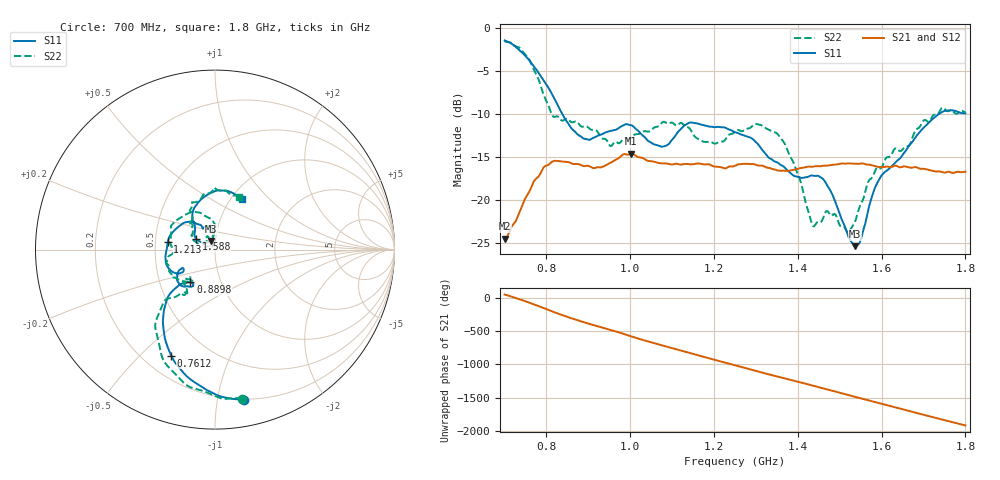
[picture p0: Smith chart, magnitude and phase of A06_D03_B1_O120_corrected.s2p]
! Created with skrf 1.9.0 (http://scikit-rf.org).
# Hz S RI R 50.0
!freq ReS11 ImS11 ReS21 ImS21 ReS12 ImS12 ReS22 ImS22
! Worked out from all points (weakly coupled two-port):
!   1601 points, 700 MHz to 1.8 GHz, reference 50 ohm
!   highest |S21| = -14.59 dB at 1.002 GHz (marker M1); lowest = -24.5 dB at 701.4 MHz (marker M2)
!   lowest |S11| = -25.4 dB at 1.536 GHz (marker M3), VSWR 1.11, Z = 47.5 + j4.61 ohm
!   |S11| at or under -10 dB: 837.9 MHz to 1.736 GHz (897.8 MHz wide, 69.8 % of centre)
!   |S22| runs from -23.8 to -1.5 dB; largest |S21 - S12| = 0.0034
!   S11 on the Smith chart (normalised r, x): 700 MHz: 0.20, -1.19; 761.2 MHz: 0.31, -0.62; 889.8 MHz: 0.71, -0.27; 1.213 GHz: 0.58, +0.05; 1.588 GHz: 0.80, +0.10; 1.8 GHz: 1.13, +0.70
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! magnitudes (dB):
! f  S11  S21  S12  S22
! 700 MHz  -1.4  -24.5  -24.3  -1.5
! 701.4 MHz  -1.4  -24.5  -24.1  -1.5
! 761.2 MHz  -3.9  -18.8  -18.7  -3.8
! 814.8 MHz  -7.8  -15.5  -15.6  -10.2
! 883.6 MHz  -12.6  -16.0  -15.8  -11.4
! 889.8 MHz  -12.8  -16.0  -16.0  -11.4
! 953 MHz  -11.9  -15.6  -15.6  -13.7
! 1.002 GHz  -11.3  -14.6  -14.7  -12.7
! 1.067 GHz  -13.6  -15.7  -15.6  -11.4
! 1.141 GHz  -11.0  -15.8  -15.8  -11.6
! 1.213 GHz  -11.5  -16.1  -16.1  -13.2
! 1.25 GHz  -12.1  -16.0  -15.9  -12.0
! 1.354 GHz  -15.7  -16.6  -16.5  -12.4
! 1.394 GHz  -17.2  -16.4  -16.4  -16.2
! 1.434 GHz  -17.1  -16.1  -16.1  -22.8
! 1.468 GHz  -18.1  -16.0  -16.0  -21.3
! 1.519 GHz  -24.0  -15.7  -15.7  -23.7
! 1.536 GHz  -25.4  -15.7  -15.8  -22.6
! 1.588 GHz  -18.2  -16.1  -16.1  -16.3
! 1.617 GHz  -16.4  -16.1  -16.1  -15.0
! 1.736 GHz  -10.0  -16.7  -16.7  -9.9
! 1.8 GHz  -9.9  -16.7  -16.7  -9.8
